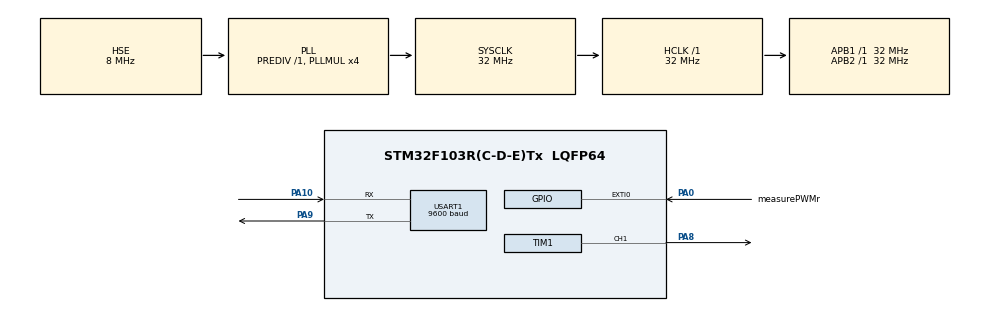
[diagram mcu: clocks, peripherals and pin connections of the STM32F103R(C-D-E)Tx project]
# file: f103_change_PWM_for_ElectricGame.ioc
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Mcu.Family=STM32F1
Mcu.Name=STM32F103R(C-D-E)Tx
Mcu.Package=LQFP64
NVIC.EXTI0_IRQn=true\:0\:0\:false\:false\:true\:true\:true
NVIC.PriorityGroup=NVIC_PRIORITYGROUP_4
NVIC.USART1_IRQn=true\:0\:0\:false\:false\:true\:true\:true
PA0-WKUP.GPIO_Label=measurePWMr
PA0-WKUP.GPIO_ModeDefaultEXTI=GPIO_MODE_IT_RISING
PA0-WKUP.GPIO_PuPd=GPIO_PULLDOWN
PA0-WKUP.Signal=GPXTI0
PA10.Mode=Asynchronous
PA10.Signal=USART1_RX
PA8.Signal=S_TIM1_CH1
PA9.Mode=Asynchronous
PA9.Signal=USART1_TX
PC14-OSC32_IN.Mode=LSE-External-Oscillator
PC14-OSC32_IN.Signal=RCC_OSC32_IN
PC15-OSC32_OUT.Mode=LSE-External-Oscillator
PC15-OSC32_OUT.Signal=RCC_OSC32_OUT
PD0-OSC_IN.Mode=HSE-External-Oscillator
PD0-OSC_IN.Signal=RCC_OSC_IN
PD1-OSC_OUT.Mode=HSE-External-Oscillator
PD1-OSC_OUT.Signal=RCC_OSC_OUT
ProjectManager.HeapSize=0x200
ProjectManager.StackSize=0x400
ProjectManager.TargetToolchain=MDK-ARM V5.27
RCC.AHBFreq_Value=32000000
RCC.APB1Freq_Value=32000000
RCC.APB1TimFreq_Value=32000000
RCC.APB2Freq_Value=32000000
RCC.APB2TimFreq_Value=32000000
RCC.HCLKFreq_Value=32000000
RCC.PLLMUL=RCC_PLL_MUL4
RCC.PLLSourceVirtual=RCC_PLLSOURCE_HSE
RCC.SYSCLKFreq_VALUE=32000000
RCC.SYSCLKSource=RCC_SYSCLKSOURCE_PLLCLK
RCC.USBFreq_Value=32000000
SH.S_TIM1_CH1.0=TIM1_CH1,PWM Generation1 CH1
TIM1.Channel-PWM\ Generation1\ CH1=TIM_CHANNEL_1
TIM1.Period=100-1
TIM1.Prescaler=64-1
TIM1.Pulse-PWM\ Generation1\ CH1=50
USART1.BaudRate=9600
USART1.VirtualMode=VM_ASYNC
VP_SYS_VS_ND.Mode=No_Debug
board=custom

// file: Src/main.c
/* USER CODE BEGIN Header */
/**
  ******************************************************************************
  * @file           : main.c
  * @brief          : Main program body
  ******************************************************************************
  * @attention
  *
  * <h2><center>&copy; Copyright (c) 2020 STMicroelectronics.
  * All rights reserved.</center></h2>
  *
  * This software component is licensed by ST under BSD 3-Clause license,
  * the "License"; You may not use this file except in compliance with the
  * License. You may obtain a copy of the License at:
  *                        opensource.org/licenses/BSD-3-Clause
  *
  ******************************************************************************
  */
/* USER CODE END Header */

#include "main.h"
#include "tim.h"
#include "usart.h"
#include "gpio.h"
/* USER CODE BEGIN Includes */
#include "MF_PWM.h"
#include "stdio.h"
/* USER CODE END Includes */

/* USER CODE BEGIN PV */
uint8_t receive[9] = {0} ;
uint32_t frequency = 1000 ;
uint32_t duty = 50;
/* USER CODE END PV */

void SystemClock_Config(void);
/* USER CODE BEGIN PFP */
void mf_end_uartToHMI(){
	uint8_t end[3] = {0xff,0xff,0xff};
	HAL_UART_Transmit(&huart1,end,3,1000);
}
void MF_HMI_DU(){
	int i;
	uint32_t Dudu = 0;

	Dudu = Dudu | receive[3] ;
	for( i = 2 ; i >= 0 ; i-- ){
		Dudu = Dudu << 8 ;
		Dudu = Dudu | receive[i] ;
	}
	//	printf("Dudu=%d\r\n",Dudu);
		if( Dudu > 180){
			MF_setPWM_du(90);
			printf("t0.txt=\"90\"");
			mf_end_uartToHMI();
		}else{
			MF_setPWM_du(Dudu);
			printf("t0.txt=\"%d\"",Dudu);
			mf_end_uartToHMI();
		}
		HAL_UART_Receive_IT(&huart1,receive,9);
}
void MF_HMI_F(){
	int i;
	frequency = 0;
			duty = 0 ;
			frequency = frequency | receive[3] ;
			duty = duty | receive[7];
			for( i = 2 ; i >= 0 ; i-- ){
				frequency = frequency << 8 ;
				frequency = frequency | receive[i] ;
				duty = duty << 8 ;
				duty = duty | receive[i+4];
			}
			//dc 05 00 00 3c 00 00 00
			//printf("f=%d,duty=%d\r\n",frequency,duty);
			if(frequency > MF_Frequency_Max || frequency < MF_Frequency_Min || duty <=4 || duty >= 96 ){
				frequency = 1000;
				duty = 50 ;
				printf("vis t12,1");
				mf_end_uartToHMI();
			}
				MF_setPWM_Frequency_Duty(frequency,duty);
				printf("t4.txt=\"%d\"",frequency);
				mf_end_uartToHMI();
				printf("t5.txt=\"%d\"",duty);
				mf_end_uartToHMI();
				printf("t6.txt=\"%.2f\"",1000.0/frequency);
				mf_end_uartToHMI();
				printf("t7.txt=\"%.2f\"",10.0*duty/frequency);
				mf_end_uartToHMI();
			for(i = 0 ; i < 9 ; i++ ){
			 receive[i] = 0x00 ;
			}
			HAL_UART_Receive_IT(&huart1,receive,9);
}
void HAL_UART_RxCpltCallback(UART_HandleTypeDef *huart){
		if(huart->Instance == USART1){

			switch(receive[8]){
				case 0xaa:
					MF_HMI_F(); //设置频率的
					break;
				case 0xbb:
					MF_HMI_DU();
					//设置角度的
					break;
			}

		}
}
/* USER CODE END PFP */

int main(void)
{
  /* USER CODE BEGIN 1 */
int maindu = 0 ;
	int i = 0 ;
  /* USER CODE END 1 */

  /* MCU Configuration--------------------------------------------------------*/

  /* Reset of all peripherals, Initializes the Flash interface and the Systick. */
  HAL_Init();

  /* Configure the system clock */
  SystemClock_Config();

  /* USER CODE BEGIN SysInit */
#ifndef ZDY
  /* USER CODE END SysInit */

  /* Initialize all configured peripherals */
  MX_GPIO_Init();
  MX_TIM1_Init();
  MX_USART1_UART_Init();
  /* USER CODE BEGIN 2 */
#else
  MX_GPIO_Init();
  MX_USART1_UART_Init();
#endif
  /* USER CODE END 2 */

  /* Infinite loop */
  /* USER CODE BEGIN WHILE */
//	HAL_TIM_PWM_Start(&htim1,TIM_CHANNEL_1);
//MF_setPWM_Frequency_Duty(frequency,duty);
     MF_setPWM_du(120);
		 HAL_Delay(1000);
//	MX_TIM1_Init(320-1,100-1,50);
//		HAL_TIM_PWM_Start(&htim1,TIM_CHANNEL_1);
HAL_UART_Receive_IT(&huart1,receive,9);
  while (1)
  {
//		for( i = 0 ; i <= 180 ; i+=18){
//			MF_setPWM_du(i);
//			HAL_Delay(200);
//		}
//		for( i = 180 ; i >= 0 ; i-=18){
//			MF_setPWM_du(i);
//			HAL_Delay(200);
//		}
//
//		MF_setPWM_du(0);
//		HAL_Delay(500);
//		MF_setPWM_du(180);
//		HAL_Delay(500);

//		HAL_Delay(10000);
//		MF_setPWM_Tms_Duty(0.1,6);
//		HAL_Delay(10000);
//		MF_setPWM_Frequency_Duty(500,20);

    /* USER CODE END WHILE */

  }
}

void SystemClock_Config(void)
{
  RCC_OscInitTypeDef RCC_OscInitStruct = {0};
  RCC_ClkInitTypeDef RCC_ClkInitStruct = {0};

  /** Initializes the CPU, AHB and APB busses clocks
  */
  RCC_OscInitStruct.OscillatorType = RCC_OSCILLATORTYPE_HSE;
  RCC_OscInitStruct.HSEState = RCC_HSE_ON;
  RCC_OscInitStruct.HSEPredivValue = RCC_HSE_PREDIV_DIV1;
  RCC_OscInitStruct.HSIState = RCC_HSI_ON;
  RCC_OscInitStruct.PLL.PLLState = RCC_PLL_ON;
  RCC_OscInitStruct.PLL.PLLSource = RCC_PLLSOURCE_HSE;
  RCC_OscInitStruct.PLL.PLLMUL = RCC_PLL_MUL4;
  if (HAL_RCC_OscConfig(&RCC_OscInitStruct) != HAL_OK)
  {
    Error_Handler();
  }
  /** Initializes the CPU, AHB and APB busses clocks
  */
  RCC_ClkInitStruct.ClockType = RCC_CLOCKTYPE_HCLK|RCC_CLOCKTYPE_SYSCLK
                              |RCC_CLOCKTYPE_PCLK1|RCC_CLOCKTYPE_PCLK2;
  RCC_ClkInitStruct.SYSCLKSource = RCC_SYSCLKSOURCE_PLLCLK;
  RCC_ClkInitStruct.AHBCLKDivider = RCC_SYSCLK_DIV1;
  RCC_ClkInitStruct.APB1CLKDivider = RCC_HCLK_DIV1;
  RCC_ClkInitStruct.APB2CLKDivider = RCC_HCLK_DIV1;

  if (HAL_RCC_ClockConfig(&RCC_ClkInitStruct, FLASH_LATENCY_1) != HAL_OK)
  {
    Error_Handler();
  }
}

void Error_Handler(void)
{
}

/************************ (C) COPYRIGHT STMicroelectronics *****END OF FILE****/
